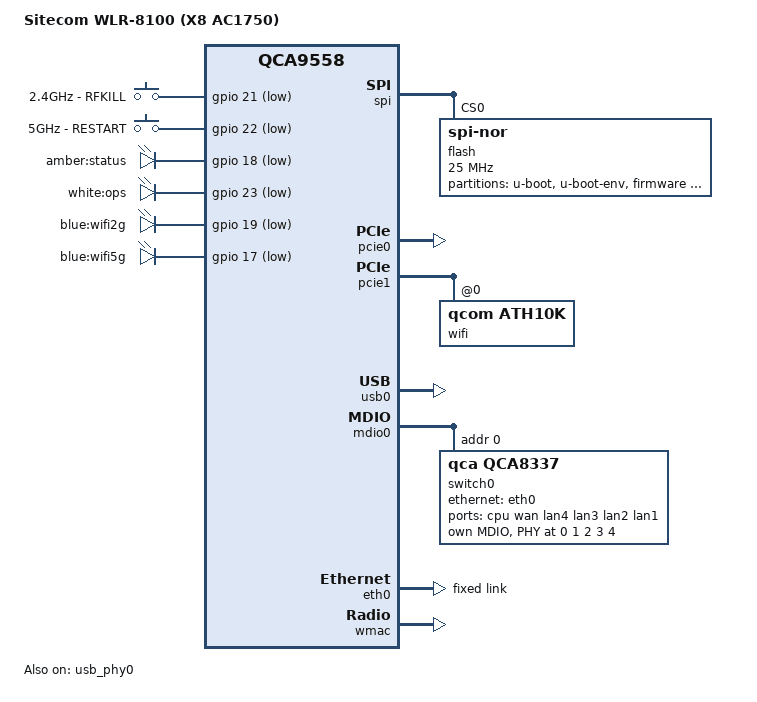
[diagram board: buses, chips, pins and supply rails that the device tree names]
// SPDX-License-Identifier: GPL-2.0-or-later OR MIT

#include "qca955x.dtsi"

#include <dt-bindings/gpio/gpio.h>
#include <dt-bindings/input/input.h>

/ {
	model = "Sitecom WLR-8100 (X8 AC1750)";
	compatible = "sitecom,wlr-8100", "qca,qca9558";

	aliases {
		led-boot = &led_status_amber;
		led-failsafe = &led_status_amber;
		led-running = &led_status_amber;
		led-upgrade = &led_status_amber;
	};

	keys {
		compatible = "gpio-keys";

		wifi2g_rfkill {
			label = "2.4GHz - RFKILL";
			gpios = <&gpio 21 GPIO_ACTIVE_LOW>;
			linux,code = <KEY_RFKILL>;
		};

		wifi5g_restart {
			label = "5GHz - RESTART";
			gpios = <&gpio 22 GPIO_ACTIVE_LOW>;
			linux,code = <KEY_RESTART>;
		};
	};

	leds {
		compatible = "gpio-leds";

		led_status_amber: status_amber {
			label = "amber:status";
			gpios = <&gpio 18 GPIO_ACTIVE_LOW>;
			default-state = "on";
		};

		ops {
			label = "white:ops";
			gpios = <&gpio 23 GPIO_ACTIVE_LOW>;
		};

		wifi2g {
			label = "blue:wifi2g";
			gpios = <&gpio 19 GPIO_ACTIVE_LOW>;
			linux,default-trigger = "phy1tpt";
		};

		wifi5g {
			label = "blue:wifi5g";
			gpios = <&gpio 17 GPIO_ACTIVE_LOW>;
			linux,default-trigger = "phy0tpt";
		};
	};
};

&spi {
	status = "okay";

	flash@0 {
		compatible = "jedec,spi-nor";
		reg = <0>;
		spi-max-frequency = <25000000>;

		partitions {
			compatible = "fixed-partitions";
			#address-cells = <1>;
			#size-cells = <1>;

			uboot: partition@0 {
				label = "u-boot";
				reg = <0x000000 0x030000>;
				read-only;
			};

			partition@30000 {
				label = "u-boot-env";
				reg = <0x030000 0x010000>;
				read-only;
			};

			partition@40000 {
				compatible = "denx,uimage";
				label = "firmware";
				reg = <0x040000 0xf10000>;
			};

			partition@f50000 {
				label = "manufacture";
				reg = <0xf50000 0x040000>;
				read-only;
			};

			partition@f90000 {
				label = "backup";
				reg = <0xf90000  0x010000>;
				read-only;
			};

			partition@fa0000 {
				label = "storage";
				reg = <0xfa0000 0x050000>;
				read-only;
			};

			art: partition@ff0000 {
				label = "art";
				reg = <0xff0000 0x010000>;
				read-only;
			};
		};
	};
};

&pcie0 {
	status = "okay";
};

&pcie1 {
	status = "okay";

	wifi@0,0 {
		compatible = "qcom,ath10k";
		reg = <0 0 0 0 0>;
	};
};

&usb_phy0 {
	status = "okay";
};

&usb0 {
	#address-cells = <1>;
	#size-cells = <0>;
	status = "okay";
};

&mdio0 {
	status = "okay";

	switch0@10 {
		compatible = "qca,qca8337";
		#address-cells = <1>;
		#size-cells = <0>;

		reg = <0>;

		ports {
			#address-cells = <1>;
			#size-cells = <0>;

			port@0 {
				reg = <0>;
				label = "cpu";
				ethernet = <&eth0>;
				phy-mode = "rgmii-id";

				fixed-link {
					speed = <1000>;
					full-duplex;
				};
			};

			port@1 {
				reg = <1>;
				label = "wan";
				phy-mode = "internal";
				phy-handle = <&phy_port1>;
			};

			port@2 {
				reg = <2>;
				label = "lan4";
				phy-mode = "internal";
				phy-handle = <&phy_port2>;
			};

			port@3 {
				reg = <3>;
				label = "lan3";
				phy-mode = "internal";
				phy-handle = <&phy_port3>;
			};

			port@4 {
				reg = <4>;
				label = "lan2";
				phy-mode = "internal";
				phy-handle = <&phy_port4>;
			};

			port@5 {
				reg = <5>;
				label = "lan1";
				phy-mode = "internal";
				phy-handle = <&phy_port5>;
			};
		};

		mdio {
			#address-cells = <1>;
			#size-cells = <0>;

			phy_port1: phy@0 {
				reg = <0>;
			};

			phy_port2: phy@1 {
				reg = <1>;
			};

			phy_port3: phy@2 {
				reg = <2>;
			};

			phy_port4: phy@3 {
				reg = <3>;
			};

			phy_port5: phy@4 {
				reg = <4>;
			};
		};
	};
};

&eth0 {
	status = "okay";
	pll-data = <0xa6000000 0x00000101 0x00001616>;

	gmac-config {
		device = <&gmac>;
		rgmii-enabled = <1>;
	};

	fixed-link {
		speed = <1000>;
		full-duplex;
	};
};

&wmac {
	status = "okay";
	qca,no-eeprom;
};
